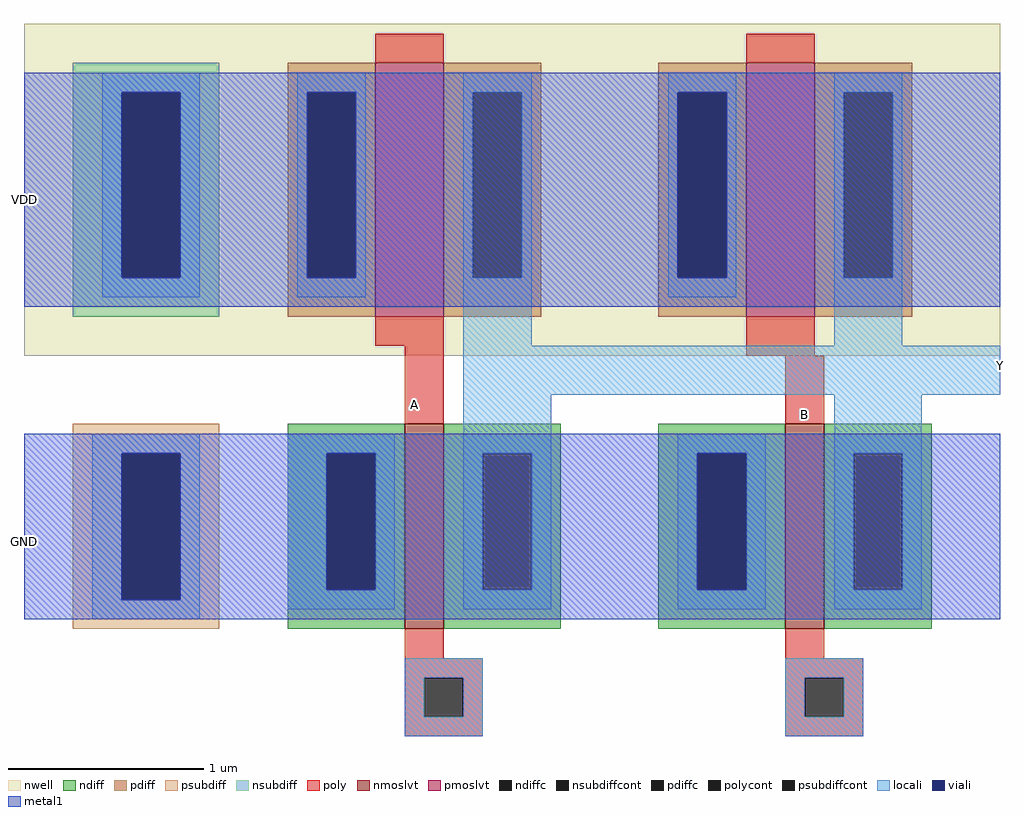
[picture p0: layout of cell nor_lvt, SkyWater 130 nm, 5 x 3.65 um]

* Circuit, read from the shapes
.subckt nor_lvt A B GND VDD Y
XM1 Y A GND GND sky130_fd_pr__nfet_01v8_lvt w=1.05 l=0.2
XM2 Y B GND GND sky130_fd_pr__nfet_01v8_lvt w=1.05 l=0.2
XM3 Y A VDD VDD sky130_fd_pr__pfet_01v8_lvt w=1.3 l=0.35
XM4 Y B VDD VDD sky130_fd_pr__pfet_01v8_lvt w=1.3 l=0.35
.ends

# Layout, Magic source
magic
tech sky130A
<< nwell >>
rect -320 95 180 265
<< pmoslvt >>
rect -140 115 -105 245
rect 50 115 85 245
<< nmoslvt >>
rect -125 -45 -105 60
rect 70 -45 90 60
<< ndiff >>
rect -185 45 -125 60
rect -185 -25 -165 45
rect -140 -25 -125 45
rect -185 -45 -125 -25
rect -105 45 -45 60
rect -105 -25 -85 45
rect -60 -25 -45 45
rect -105 -45 -45 -25
rect 5 45 70 60
rect 5 -25 25 45
rect 50 -25 70 45
rect 5 -45 70 -25
rect 90 45 145 60
rect 90 -25 105 45
rect 130 -25 145 45
rect 90 -45 145 -25
<< pdiff >>
rect -185 230 -140 245
rect -185 135 -175 230
rect -150 135 -140 230
rect -185 115 -140 135
rect -105 230 -55 245
rect -105 135 -90 230
rect -65 135 -55 230
rect -105 115 -55 135
rect 5 230 50 245
rect 5 135 15 230
rect 40 135 50 230
rect 5 115 50 135
rect 85 230 135 245
rect 85 135 100 230
rect 125 135 135 230
rect 85 115 135 135
<< ndiffc >>
rect -165 -25 -140 45
rect -85 -25 -60 45
rect 25 -25 50 45
rect 105 -25 130 45
<< pdiffc >>
rect -175 135 -150 230
rect -90 135 -65 230
rect 15 135 40 230
rect 100 135 125 230
<< psubdiff >>
rect -295 45 -220 60
rect -295 -30 -270 45
rect -240 -30 -220 45
rect -295 -45 -220 -30
<< nsubdiff >>
rect -295 230 -220 245
rect -295 135 -270 230
rect -240 135 -220 230
rect -295 115 -220 135
<< psubdiffcont >>
rect -270 -30 -240 45
<< nsubdiffcont >>
rect -270 135 -240 230
<< poly >>
rect -140 245 -105 260
rect 50 245 85 260
rect -140 100 -105 115
rect -125 60 -105 100
rect 50 95 85 115
rect 70 60 90 95
rect -125 -60 -105 -45
rect 70 -60 90 -45
rect -125 -70 -85 -60
rect -125 -90 -115 -70
rect -95 -90 -85 -70
rect -125 -100 -85 -90
rect 70 -70 110 -60
rect 70 -90 80 -70
rect 100 -90 110 -70
rect 70 -100 110 -90
<< polycont >>
rect -115 -90 -95 -70
rect 80 -90 100 -70
<< locali >>
rect -280 230 -230 240
rect -280 135 -270 230
rect -240 135 -230 230
rect -280 125 -230 135
rect -180 230 -145 240
rect -180 135 -175 230
rect -150 135 -145 230
rect -180 125 -145 135
rect -95 230 -60 240
rect -95 135 -90 230
rect -65 135 -60 230
rect -95 100 -60 135
rect 10 230 45 240
rect 10 135 15 230
rect 40 135 45 230
rect 10 125 45 135
rect 95 230 130 240
rect 95 135 100 230
rect 125 135 130 230
rect 95 100 130 135
rect -95 75 180 100
rect -285 45 -230 55
rect -285 -30 -270 45
rect -240 -30 -230 45
rect -285 -40 -230 -30
rect -185 45 -130 55
rect -185 -25 -165 45
rect -140 -25 -130 45
rect -185 -35 -130 -25
rect -95 45 -50 75
rect -95 -25 -85 45
rect -60 -25 -50 45
rect -95 -35 -50 -25
rect 15 45 60 55
rect 15 -25 25 45
rect 50 -25 60 45
rect 15 -35 60 -25
rect 95 45 140 75
rect 95 -25 105 45
rect 130 -25 140 45
rect 95 -35 140 -25
rect -125 -70 -85 -60
rect -125 -90 -115 -70
rect -95 -90 -85 -70
rect -125 -100 -85 -90
rect 70 -70 110 -60
rect 70 -90 80 -70
rect 100 -90 110 -70
rect 70 -100 110 -90
<< viali >>
rect -270 135 -240 230
rect -175 135 -150 230
rect 15 135 40 230
rect -270 -30 -240 45
rect -165 -25 -140 45
rect 25 -25 50 45
<< metal1 >>
rect -320 230 180 240
rect -320 135 -270 230
rect -240 135 -175 230
rect -150 135 15 230
rect 40 135 180 230
rect -320 120 180 135
rect -320 45 180 55
rect -320 -30 -270 45
rect -240 -25 -165 45
rect -140 -25 25 45
rect 50 -25 180 45
rect -240 -30 180 -25
rect -320 -40 180 -30
<< labels >>
rlabel poly -120 70 -120 70 7 A
rlabel poly 80 65 80 65 7 B
rlabel metal1 -320 175 -320 175 7 VDD
rlabel metal1 -320 0 -320 0 7 GND
rlabel locali 180 90 180 90 7 Y
<< end >>
